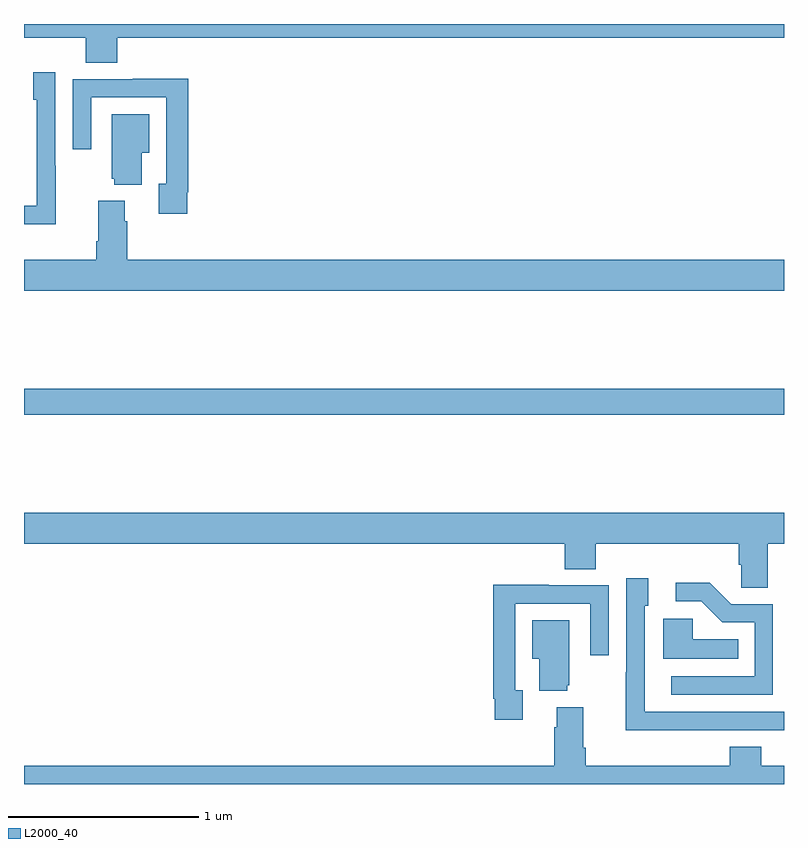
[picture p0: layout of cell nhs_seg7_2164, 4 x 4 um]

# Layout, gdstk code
import gdstk
lib = gdstk.Library(unit=1e-6, precision=1e-09)
def R(c, l, rs):  # rectangles x0, y0, x1, y1
    for r in rs: c.add(gdstk.rectangle(r[:2], r[2:], *l))
def P(c, l, *ps):  # polygons
    for p in ps: c.add(gdstk.Polygon(p, *l))
L2000_40 = (2000, 40)

nhs_seg7_2164 = lib.new_cell('nhs_seg7_2164')
R(nhs_seg7_2164, L2000_40, [(253,1019.944,257,1020.08)])
P(nhs_seg7_2164, L2000_40, [(253.49,1021.928),(257,1021.928),(257,1022),(253,1022),(253,1021.928),(253.325,1021.928),(253.325,1021.795),(253.49,1021.795)],
  [(253.167,1021.253),(253.164,1021.253),(253.164,1021.747),(253.049,1021.747),(253.049,1021.602),(253.068,1021.602),(253.068,1021.044),(253,1021.044),(253,1020.947),(253.167,1020.947)],
  [(253.858,1021.114),(253.865,1021.114),(253.865,1021.712),(253.573,1021.712),(253.573,1021.71),(253.257,1021.71),(253.257,1021.341),(253.353,1021.341),(253.353,1021.614),(253.749,1021.614),(253.749,1021.158),(253.709,1021.158),(253.709,1021.002),(253.858,1021.002)],
  [(253.621,1021.322),(253.66,1021.322),(253.66,1021.525),(253.463,1021.525),(253.463,1021.185),(253.475,1021.185),(253.475,1021.154),(253.621,1021.154)],
  [(257,1020.76),(253.544,1020.76),(253.544,1020.962),(253.531,1020.962),(253.531,1021.069),(253.391,1021.069),(253.391,1020.856),(253.379,1020.856),(253.379,1020.76),(253,1020.76),(253,1020.596),(257,1020.596)],
  [(256.915,1019.264),(257,1019.264),(257,1019.428),(253,1019.428),(253,1019.264),(255.845,1019.264),(255.845,1019.131),(256.01,1019.131),(256.01,1019.264),(256.763,1019.264),(256.763,1019.155),(256.776,1019.155),(256.776,1019.032),(256.915,1019.032)],
  [(256.631,1018.284),(257,1018.284),(257,1018.38),(256.267,1018.38),(256.267,1018.634),(256.266,1018.634),(256.266,1018.938),(256.285,1018.938),(256.285,1019.083),(256.17,1019.083),(256.17,1018.589),(256.168,1018.589),(256.168,1018.283),(256.631,1018.283)],
  [(256.941,1018.947),(256.722,1018.947),(256.609,1019.06),(256.431,1019.06),(256.431,1018.962),(256.565,1018.962),(256.676,1018.851),(256.845,1018.851),(256.845,1018.566),(256.407,1018.566),(256.407,1018.47),(256.941,1018.47)],
  [(255.625,1018.494),(255.585,1018.494),(255.585,1018.95),(255.981,1018.95),(255.981,1018.677),(256.077,1018.677),(256.077,1019.046),(255.761,1019.046),(255.761,1019.048),(255.469,1019.048),(255.469,1018.45),(255.477,1018.45),(255.477,1018.338),(255.625,1018.338)],
  [(256.76,1018.762),(256.521,1018.762),(256.521,1018.87),(256.364,1018.87),(256.364,1018.658),(256.76,1018.658)],
  [(255.86,1018.521),(255.871,1018.521),(255.871,1018.861),(255.674,1018.861),(255.674,1018.658),(255.713,1018.658),(255.713,1018.49),(255.86,1018.49)],
  [(257,1018.096),(256.88,1018.096),(256.88,1018.195),(256.715,1018.195),(256.715,1018.096),(255.956,1018.096),(255.956,1018.192),(255.943,1018.192),(255.943,1018.405),(255.803,1018.405),(255.803,1018.298),(255.791,1018.298),(255.791,1018.096),(253,1018.096),(253,1018),(257,1018)])

lib.write_gds('nhs_seg7_2164.gds')
